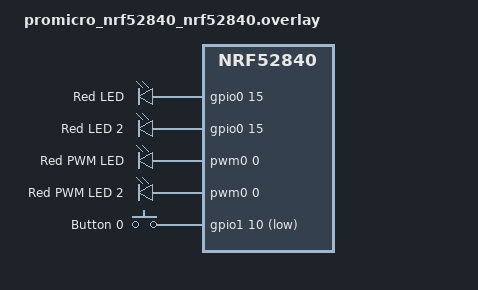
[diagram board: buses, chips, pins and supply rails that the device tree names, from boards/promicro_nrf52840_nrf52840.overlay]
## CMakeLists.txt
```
#
# Copyright (c) 2024 Nordic Semiconductor ASA
#
# SPDX-License-Identifier: LicenseRef-Nordic-5-Clause
#

cmake_minimum_required(VERSION 3.20.0)

find_package(Zephyr HINTS $ENV{ZEPHYR_BASE})

project(matter-relay4)

# Enable GNU STD support
include(${ZEPHYR_CONNECTEDHOMEIP_MODULE_DIR}/config/nrfconnect/app/enable-gnu-std.cmake)

# NORDIC SDK APP START

# Common Matter sources
include(${ZEPHYR_NRF_MODULE_DIR}/samples/matter/common/cmake/source_common.cmake)

# Data Model utils
include(${ZEPHYR_NRF_MODULE_DIR}/samples/matter/common/cmake/data_model.cmake)

include(${ZEPHYR_NRF_MODULE_DIR}/samples/matter/common/cmake/zap_helpers.cmake)
ncs_get_zap_parent_dir(ZAP_PARENT_DIR)

target_include_directories(app PRIVATE
    src
    ${ZAP_PARENT_DIR}
)

target_sources(app PRIVATE
    src/app_task.cpp
    src/main.cpp
    src/zcl_callbacks.cpp
    src/relay_manager.cpp
    ${CHIP_ROOT}/src/app/util/persistence/DeferredAttributePersistenceProvider.cpp
)

ncs_configure_data_model()
# NORDIC SDK APP END
```

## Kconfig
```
#
# Copyright (c) 2024 Nordic Semiconductor
#
# SPDX-License-Identifier: LicenseRef-Nordic-5-Clause
#
mainmenu "Matter nRF Connect Relay4 Example Application"

# Sample configuration used for Thread networking
if OPENTHREAD

choice OPENTHREAD_NORDIC_LIBRARY_CONFIGURATION
	default OPENTHREAD_NORDIC_LIBRARY_FTD
endchoice

choice OPENTHREAD_DEVICE_TYPE
	default OPENTHREAD_FTD
endchoice

endif # OPENTHREAD

source "${ZEPHYR_CONNECTEDHOMEIP_MODULE_DIR}/config/nrfconnect/chip-module/Kconfig.features"
source "${ZEPHYR_CONNECTEDHOMEIP_MODULE_DIR}/config/nrfconnect/chip-module/Kconfig.defaults"
source "${ZEPHYR_NRF_MODULE_DIR}/samples/matter/common/src/Kconfig"
source "Kconfig.zephyr"
```

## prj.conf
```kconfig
#
# Copyright (c) 2024 Nordic Semiconductor ASA
#
# SPDX-License-Identifier: LicenseRef-Nordic-5-Clause
#

# Enable CHIP
CONFIG_CHIP=y
CONFIG_CHIP_PROJECT_CONFIG="src/chip_project_config.h"

# ZAP file (skopiowany z light_bulb, 1 endpoint OnOff; EP2-EP4 dynamiczne)
CONFIG_NCS_SAMPLE_MATTER_ZAP_FILE_PATH="${APPLICATION_CONFIG_DIR}/src/default_zap/light_bulb.zap"

# Product ID dla relay4 (przykładowy)
CONFIG_CHIP_DEVICE_PRODUCT_ID=32784
CONFIG_STD_CPP17=y

# Automatyczne parowanie przy starcie
CONFIG_CHIP_ENABLE_PAIRING_AUTOSTART=y

# BLE advertising
CONFIG_CHIP_BLE_EXT_ADVERTISING=y
CONFIG_CHIP_BLE_ADVERTISING_DURATION=60

# Obsługa przycisków i LEDów na DK
CONFIG_DK_LIBRARY=y

# GPIO dla przekaźników (zamiast PWM)
CONFIG_GPIO=y

# Wyłącz PWM (nie używamy)
CONFIG_PWM=n

# Bluetooth
CONFIG_BT_DEVICE_NAME="MatterRelay4"

# Inne
CONFIG_THREAD_NAME=y
CONFIG_MPU_STACK_GUARD=y
CONFIG_RESET_ON_FATAL_ERROR=n
CONFIG_CHIP_LIB_SHELL=y
CONFIG_NCS_SAMPLE_MATTER_TEST_SHELL=y

# Rozmiar
CONFIG_USE_SEGGER_RTT=n

# Factory Data
CONFIG_CHIP_FACTORY_DATA=y
CONFIG_CHIP_FACTORY_DATA_BUILD=y
```

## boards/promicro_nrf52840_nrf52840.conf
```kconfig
#
# Copyright (c) 2024
#
# SPDX-License-Identifier: LicenseRef-Nordic-5-Clause
#

# Disable QSPI NOR (no external flash on Pro Micro)
CONFIG_CHIP_QSPI_NOR=n

# Disable NFC onboarding (Pro Micro has no NFC antenna, NFCT pins used as GPIOs)
CONFIG_CHIP_NFC_ONBOARDING_PAYLOAD=n

# Disable OTA DFU (no MCUboot)
CONFIG_CHIP_OTA_REQUESTOR=n

# Enable USB CDC ACM for console output
CONFIG_USB_DEVICE_STACK=y
CONFIG_UART_LINE_CTRL=y

# Reduce binary size
CONFIG_SIZE_OPTIMIZATIONS=y
CONFIG_CHIP_LIB_SHELL=n
CONFIG_NCS_SAMPLE_MATTER_TEST_SHELL=n
CONFIG_CHIP_MEMORY_PROFILING=n
CONFIG_USE_SEGGER_RTT=n
CONFIG_SHELL_MINIMAL=y
CONFIG_ASSERT=n
CONFIG_RESET_ON_FATAL_ERROR=y
```

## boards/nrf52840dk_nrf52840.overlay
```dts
/*
 * Overlay DTS dla nRF52840DK - projekt relay4
 * 4 przekaźniki na GPIO P0.03 - P0.06, ACTIVE_LOW
 * (logiczne 1 = przekaźnik ON = pin LOW = cewka zasilona)
 */

/ {
	relay-gpios {
		compatible = "gpio-leds";
		relay0: relay_0 {
			gpios = <&gpio0 3 GPIO_ACTIVE_LOW>;
			label = "Relay 1";
		};
		relay1: relay_1 {
			gpios = <&gpio0 4 GPIO_ACTIVE_LOW>;
			label = "Relay 2";
		};
		relay2: relay_2 {
			gpios = <&gpio0 5 GPIO_ACTIVE_LOW>;
			label = "Relay 3";
		};
		relay3: relay_3 {
			gpios = <&gpio0 6 GPIO_ACTIVE_LOW>;
			label = "Relay 4";
		};
	};

	aliases {
		relay-0 = &relay0;
		relay-1 = &relay1;
		relay-2 = &relay2;
		relay-3 = &relay3;
	};
};
```

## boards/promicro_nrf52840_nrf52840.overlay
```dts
/*
 * Copyright (c) 2024
 *
 * SPDX-License-Identifier: LicenseRef-Nordic-5-Clause
 */

/ {
	/*
	 * The Pro Micro nRF52840 has only one LED (P0.15).
	 * We add a second LED node on the same pin so the Matter
	 * sample has both a status LED and a light bulb LED.
	 */
	leds {
		compatible = "gpio-leds";
		led0: led_0 {
			gpios = <&gpio0 15 GPIO_ACTIVE_HIGH>;
			label = "Red LED";
		};
		led1: led_1 {
			gpios = <&gpio0 15 GPIO_ACTIVE_HIGH>;
			label = "Red LED 2";
		};
	};

	aliases {
		pwm-led1 = &pwm_led1;
	};

	pwmleds {
		compatible = "pwm-leds";
		red_pwm_led: led_pwm_0 {
			pwms = <&pwm0 0 PWM_MSEC(20) PWM_POLARITY_INVERTED>;
			label = "Red PWM LED";
		};
		pwm_led1: led_pwm_1 {
			pwms = <&pwm0 0 PWM_MSEC(20) PWM_POLARITY_INVERTED>;
			label = "Red PWM LED 2";
		};
	};

	/*
	 * The Pro Micro nRF52840 has no physical buttons.
	 * We add a dummy buttons node required by the DK library.
	 * A random unused GPIO pin is assigned.
	 */
	buttons {
		compatible = "gpio-keys";
		button0: button_0 {
			gpios = <&gpio1 10 (GPIO_PULL_UP | GPIO_ACTIVE_LOW)>;
			label = "Button 0";
		};
	};

	aliases {
		sw0 = &button0;
	};
};

/* Disable unused peripherals to reduce power consumption */
&i2c0 {
	status = "disabled";
};
&i2c1 {
	status = "disabled";
};
&spi2 {
	status = "disabled";
};
```

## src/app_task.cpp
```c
/*
 * Copyright (c) 2024 Nordic Semiconductor ASA
 *
 * SPDX-License-Identifier: LicenseRef-Nordic-5-Clause
 */

#include "app_task.h"
#include "relay_manager.h"

#include "app/matter_init.h"
#include "app/task_executor.h"

#include <app-common/zap-generated/attributes/Accessors.h>
#include <app/clusters/identify-server/identify-server.h>
#include <app/server/Server.h>
#include <app/util/attribute-storage.h>

/* Dynamic endpoint headers */
#include <app/util/endpoint-config-defines.h>

#include <zephyr/logging/log.h>

LOG_MODULE_DECLARE(app, CONFIG_CHIP_APP_LOG_LEVEL);

using namespace ::chip;
using namespace ::chip::app;
using namespace ::chip::DeviceLayer;

namespace
{

/* EP1 jest zdefiniowany w ZAP; EP2-EP4 dodajemy dynamicznie */
constexpr EndpointId kRelay1EndpointId = 1;
constexpr EndpointId kRelay2EndpointId = 2;
constexpr EndpointId kRelay3EndpointId = 3;
constexpr EndpointId kRelay4EndpointId = 4;

/* Identify server na EP1 */
Identify sIdentify = { kRelay1EndpointId, AppTask::IdentifyStartHandler, AppTask::IdentifyStopHandler,
		       Clusters::Identify::IdentifyTypeEnum::kVisibleIndicator };

/* ─── Dynamic endpoint data dla EP2-EP4 ─────────────────────────────── */

/* Atrybuty klastra OnOff dla endpointu dynamicznego */
DECLARE_DYNAMIC_ATTRIBUTE_LIST_BEGIN(sOnOffAttrs)
DECLARE_DYNAMIC_ATTRIBUTE(Clusters::OnOff::Attributes::OnOff::Id, BOOLEAN, 1, ZAP_ATTRIBUTE_MASK(TOKENIZE)),
	DECLARE_DYNAMIC_ATTRIBUTE(Clusters::OnOff::Attributes::ClusterRevision::Id, INT16U, 2, 0),
	DECLARE_DYNAMIC_ATTRIBUTE_LIST_END();

/* Atrybuty klastra Descriptor */
DECLARE_DYNAMIC_ATTRIBUTE_LIST_BEGIN(sDescriptorAttrs)
DECLARE_DYNAMIC_ATTRIBUTE(Clusters::Descriptor::Attributes::DeviceTypeList::Id, ARRAY, 0,
			  ZAP_ATTRIBUTE_MASK(EXTERNAL_STORAGE)),
	DECLARE_DYNAMIC_ATTRIBUTE(Clusters::Descriptor::Attributes::ServerList::Id, ARRAY, 0,
				  ZAP_ATTRIBUTE_MASK(EXTERNAL_STORAGE)),
	DECLARE_DYNAMIC_ATTRIBUTE(Clusters::Descriptor::Attributes::ClientList::Id, ARRAY, 0,
				  ZAP_ATTRIBUTE_MASK(EXTERNAL_STORAGE)),
	DECLARE_DYNAMIC_ATTRIBUTE(Clusters::Descriptor::Attributes::PartsList::Id, ARRAY, 0,
				  ZAP_ATTRIBUTE_MASK(EXTERNAL_STORAGE)),
	DECLARE_DYNAMIC_ATTRIBUTE(Clusters::Descriptor::Attributes::ClusterRevision::Id, INT16U, 2,
				  ZAP_ATTRIBUTE_MASK(EXTERNAL_STORAGE)),
	DECLARE_DYNAMIC_ATTRIBUTE_LIST_END();

/* Lista klastrów dynamicznego endpointu */
DECLARE_DYNAMIC_CLUSTER_LIST_BEGIN(sRelayClusters)
DECLARE_DYNAMIC_CLUSTER(Clusters::OnOff::Id, sOnOffAttrs, ZAP_CLUSTER_MASK(SERVER), nullptr, nullptr),
	DECLARE_DYNAMIC_CLUSTER(Clusters::Descriptor::Id, sDescriptorAttrs, ZAP_CLUSTER_MASK(SERVER), nullptr, nullptr),
	DECLARE_DYNAMIC_CLUSTER_LIST_END;

/* Typ endpointu */
DECLARE_DYNAMIC_ENDPOINT(sRelayEndpointType, sRelayClusters);

/* DataVersion storage dla każdego dynamicznego endpointu (po jednej wersji na klaster) */
DataVersion sDataVersions2[ArraySize(sRelayClusters)];
DataVersion sDataVersions3[ArraySize(sRelayClusters)];
DataVersion sDataVersions4[ArraySize(sRelayClusters)];

/* Device type: On/Off Plug-in Unit (0x010A), rev 2 */
const EmberAfDeviceType sRelayDeviceTypes[] = { { 0x010A, 2 } };

#define APPLICATION_BUTTON_MASK DK_BTN2_MSK

} /* namespace */

void AppTask::IdentifyStartHandler(Identify *)
{
	Nrf::PostTask(
		[] { Nrf::GetBoard().GetLED(Nrf::DeviceLeds::LED2).Blink(Nrf::LedConsts::kIdentifyBlinkRate_ms); });
}

void AppTask::IdentifyStopHandler(Identify *)
{
	Nrf::PostTask([] { Nrf::GetBoard().GetLED(Nrf::DeviceLeds::LED2).Set(false); });
}

void AppTask::ButtonEventHandler(Nrf::ButtonState state, Nrf::ButtonMask hasChanged)
{
	/* Przycisk 2 toggleuje relay 0 (EP1) ręcznie */
	if ((APPLICATION_BUTTON_MASK & hasChanged) & state) {
		Nrf::PostTask([] {
			bool current = RelayManager::GetRelay(0);
			RelayManager::SetRelay(0, !current);
			/* Synchronizacja stanu z klastrem Matter */
			SystemLayer().ScheduleLambda([] {
				Protocols::InteractionModel::Status status = Clusters::OnOff::Attributes::OnOff::Set(
					kRelay1EndpointId, RelayManager::GetRelay(0));
				if (status != Protocols::InteractionModel::Status::Success) {
					LOG_ERR("Updating OnOff cluster EP1 failed: %x", to_underlying(status));
				}
			});
		});
	}
}

CHIP_ERROR AppTask::RegisterDynamicEndpoints()
{
	/* EP2 */
	EmberAfStatus status = emberAfSetDynamicEndpoint(
		0, kRelay2EndpointId, &sRelayEndpointType, Span<DataVersion>(sDataVersions2, ArraySize(sDataVersions2)),
		Span<const EmberAfDeviceType>(sRelayDeviceTypes, ArraySize(sRelayDeviceTypes)));
	VerifyOrReturnError(status == EMBER_ZCL_STATUS_SUCCESS, CHIP_ERROR_INTERNAL,
			    LOG_ERR("Failed to set dynamic EP2: %d", status));

	/* EP3 */
	status = emberAfSetDynamicEndpoint(
		1, kRelay3EndpointId, &sRelayEndpointType, Span<DataVersion>(sDataVersions3, ArraySize(sDataVersions3)),
		Span<const EmberAfDeviceType>(sRelayDeviceTypes, ArraySize(sRelayDeviceTypes)));
	VerifyOrReturnError(status == EMBER_ZCL_STATUS_SUCCESS, CHIP_ERROR_INTERNAL,
			    LOG_ERR("Failed to set dynamic EP3: %d", status));

	/* EP4 */
	status = emberAfSetDynamicEndpoint(
		2, kRelay4EndpointId, &sRelayEndpointType, Span<DataVersion>(sDataVersions4, ArraySize(sDataVersions4)),
		Span<const EmberAfDeviceType>(sRelayDeviceTypes, ArraySize(sRelayDeviceTypes)));
	VerifyOrReturnError(status == EMBER_ZCL_STATUS_SUCCESS, CHIP_ERROR_INTERNAL,
			    LOG_ERR("Failed to set dynamic EP4: %d", status));

	LOG_INF("Dynamic endpoints EP2, EP3, EP4 registered");
	return CHIP_NO_ERROR;
}

CHIP_ERROR AppTask::Init()
{
	/* Inicjalizacja GPIO przekaźników */
	int ret = RelayManager::Init();
	if (ret != 0) {
		LOG_ERR("RelayManager init failed: %d", ret);
		return chip::System::MapErrorZephyr(ret);
	}

	/* Inicjalizacja stosu Matter */
	ReturnErrorOnFailure(Nrf::Matter::PrepareServer());

	if (!Nrf::GetBoard().Init(ButtonEventHandler)) {
		LOG_ERR("User interface initialization failed.");
		return CHIP_ERROR_INCORRECT_STATE;
	}

	ReturnErrorOnFailure(Nrf::Matter::RegisterEventHandler(Nrf::Board::DefaultMatterEventHandler, 0));

	/* Rejestracja endpointów dynamicznych po starcie serwera Matter */
	ReturnErrorOnFailure(Nrf::Matter::StartServer());
	ReturnErrorOnFailure(RegisterDynamicEndpoints());

	return CHIP_NO_ERROR;
}

CHIP_ERROR AppTask::StartApp()
{
	ReturnErrorOnFailure(Init());

	while (true) {
		Nrf::DispatchNextTask();
	}

	return CHIP_NO_ERROR;
}
```

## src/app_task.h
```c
/*
 * Copyright (c) 2024 Nordic Semiconductor ASA
 *
 * SPDX-License-Identifier: LicenseRef-Nordic-5-Clause
 */

#pragma once

#include "app/matter_init.h"
#include "app/task_executor.h"

class AppTask {
public:
	static AppTask &Instance()
	{
		static AppTask sAppTask;
		return sAppTask;
	}

	CHIP_ERROR StartApp();

	static void ButtonEventHandler(Nrf::ButtonState state, Nrf::ButtonMask hasChanged);
	static void IdentifyStartHandler(Identify *);
	static void IdentifyStopHandler(Identify *);

private:
	CHIP_ERROR Init();

	/* Rejestracja dynamicznych endpointów EP2-EP4 */
	static CHIP_ERROR RegisterDynamicEndpoints();
};
```

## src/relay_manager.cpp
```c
/*
 * Copyright (c) 2024 Nordic Semiconductor ASA
 *
 * SPDX-License-Identifier: LicenseRef-Nordic-5-Clause
 */

#include "relay_manager.h"

#include <zephyr/logging/log.h>

LOG_MODULE_DECLARE(app, CONFIG_CHIP_APP_LOG_LEVEL);

/* GPIO aliasy z DTS overlay - ACTIVE_LOW (logiczne 1 = przekaźnik włączony,
 * fizycznie pin LOW = cewka zasilona) */
const struct gpio_dt_spec RelayManager::sRelays[RELAY_COUNT] = {
	GPIO_DT_SPEC_GET(DT_ALIAS(relay_0), gpios),
	GPIO_DT_SPEC_GET(DT_ALIAS(relay_1), gpios),
	GPIO_DT_SPEC_GET(DT_ALIAS(relay_2), gpios),
	GPIO_DT_SPEC_GET(DT_ALIAS(relay_3), gpios),
};

int RelayManager::Init()
{
	for (uint8_t i = 0; i < RELAY_COUNT; i++) {
		if (!gpio_is_ready_dt(&sRelays[i])) {
			LOG_ERR("Relay GPIO %d not ready", i);
			return -ENODEV;
		}

		int ret = gpio_pin_configure_dt(&sRelays[i], GPIO_OUTPUT_INACTIVE);
		if (ret != 0) {
			LOG_ERR("Failed to configure relay GPIO %d: %d", i, ret);
			return ret;
		}
		LOG_INF("Relay %d initialized (OFF)", i);
	}
	return 0;
}

void RelayManager::SetRelay(uint8_t index, bool on)
{
	if (index >= RELAY_COUNT) {
		LOG_ERR("Invalid relay index: %d", index);
		return;
	}

	/* GPIO_ACTIVE_LOW: gpio_pin_set_dt(true) → pin LOW → przekaźnik ON */
	gpio_pin_set_dt(&sRelays[index], on ? 1 : 0);
	LOG_INF("Relay %d: %s", index, on ? "ON" : "OFF");
}

bool RelayManager::GetRelay(uint8_t index)
{
	if (index >= RELAY_COUNT) {
		return false;
	}
	return gpio_pin_get_dt(&sRelays[index]) > 0;
}
```

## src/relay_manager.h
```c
/*
 * Copyright (c) 2024 Nordic Semiconductor ASA
 *
 * SPDX-License-Identifier: LicenseRef-Nordic-5-Clause
 */

#pragma once

#include <zephyr/drivers/gpio.h>

/* Liczba przekaźników */
#define RELAY_COUNT 4

class RelayManager {
public:
	/* Inicjalizacja GPIO przekaźników */
	static int Init();

	/* Ustaw stan przekaźnika (index 0-3 → EP1-EP4) */
	static void SetRelay(uint8_t index, bool on);

	/* Pobierz aktualny stan przekaźnika */
	static bool GetRelay(uint8_t index);

private:
	static const struct gpio_dt_spec sRelays[RELAY_COUNT];
};
```

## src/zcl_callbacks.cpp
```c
/*
 * Copyright (c) 2024 Nordic Semiconductor ASA
 *
 * SPDX-License-Identifier: LicenseRef-Nordic-5-Clause
 */

#include "app_task.h"
#include "relay_manager.h"

#include <app-common/zap-generated/attributes/Accessors.h>
#include <app-common/zap-generated/ids/Attributes.h>
#include <app-common/zap-generated/ids/Clusters.h>
#include <app/ConcreteAttributePath.h>

#include <zephyr/logging/log.h>
LOG_MODULE_DECLARE(app, CONFIG_CHIP_APP_LOG_LEVEL);

using namespace ::chip;
using namespace ::chip::app::Clusters;

/**
 * Wywoływane po każdej zmianie atrybutu Matter.
 * Mapowanie: EndpointId → RelayManager::SetRelay(index)
 *   EP1 → relay 0
 *   EP2 → relay 1
 *   EP3 → relay 2
 *   EP4 → relay 3
 */
void MatterPostAttributeChangeCallback(const chip::app::ConcreteAttributePath &attributePath, uint8_t type,
				       uint16_t size, uint8_t *value)
{
	const EndpointId ep = attributePath.mEndpointId;
	const ClusterId clusterId = attributePath.mClusterId;
	const AttributeId attributeId = attributePath.mAttributeId;

	/* Obsługujemy tylko klaster OnOff, atrybut OnOff, na EP1-EP4 */
	if (clusterId != OnOff::Id || attributeId != OnOff::Attributes::OnOff::Id) {
		return;
	}

	if (ep < 1 || ep > 4) {
		return;
	}

	const uint8_t relayIndex = static_cast<uint8_t>(ep - 1); /* EP1→0, EP4→3 */
	const bool on = (*value != 0);

	ChipLogProgress(Zcl, "Matter → Relay %d: %s (EP%d)", relayIndex, on ? "ON" : "OFF", ep);
	RelayManager::SetRelay(relayIndex, on);
}

/**
 * Callback wywoływany przy inicjalizacji klastra OnOff na EP1.
 * Dla EP2-EP4 (dynamiczne) ten callback nie jest wywoływany automatycznie —
 * stan po resecie to OFF (GPIO_OUTPUT_INACTIVE).
 */
void emberAfOnOffClusterInitCallback(EndpointId endpoint)
{
	if (endpoint != 1) {
		return;
	}

	Protocols::InteractionModel::Status status;
	bool storedValue = false;

	status = OnOff::Attributes::OnOff::Get(endpoint, &storedValue);
	if (status == Protocols::InteractionModel::Status::Success) {
		/* Odtwórz zapisany stan przekaźnika 0 po restarcie */
		RelayManager::SetRelay(0, storedValue);
		ChipLogProgress(Zcl, "EP1 OnOff init: restored relay 0 → %s", storedValue ? "ON" : "OFF");
	}
}
```
